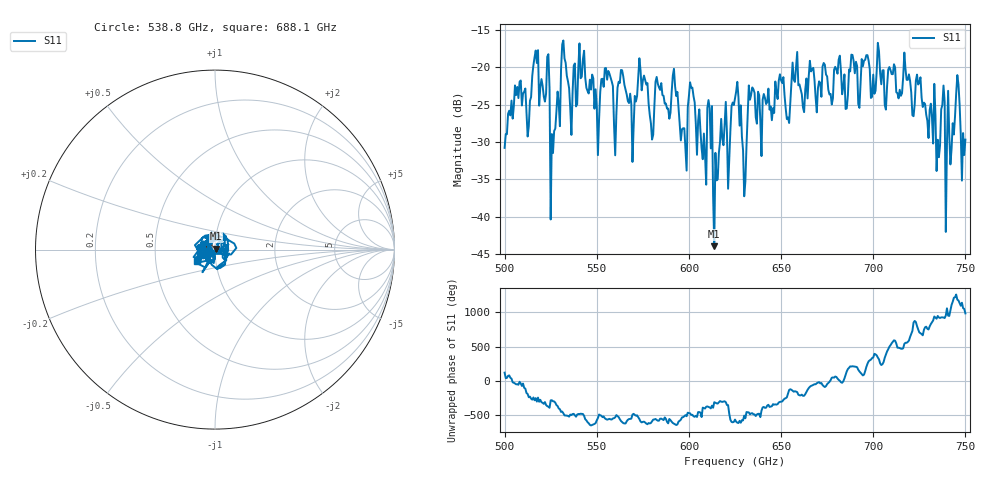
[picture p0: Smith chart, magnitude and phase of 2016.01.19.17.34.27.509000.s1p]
!Created with skrf (http://scikit-rf.org).
# GHz S RI R 50.0
!freq ReS11 ImS11
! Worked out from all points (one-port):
!   401 points, 500 GHz to 750 GHz, reference 50 ohm
!   lowest |S11| = -43.9 dB at 613.8 GHz (marker M1), VSWR 1.01, Z = 50.4 + j0.512 ohm
!   |S11| at or under -10 dB: start of sweep to end of sweep
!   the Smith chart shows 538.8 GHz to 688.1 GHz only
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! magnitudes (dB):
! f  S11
! 500 GHz  -30.8
! 506.9 GHz  -22.6
! 513.1 GHz  -27.9
! 516.9 GHz  -17.8
! 523.1 GHz  -18.6
! 526.2 GHz  -31.5
! 531.2 GHz  -17.0
! 550 GHz  -25.3
! 562.5 GHz  -22.1
! 568.8 GHz  -24.9
! 573.8 GHz  -20.4
! 579.4 GHz  -27.5
! 583.1 GHz  -22.2
! 593.8 GHz  -23.3
! 597.5 GHz  -28.2
! 601.9 GHz  -22.7
! 608.1 GHz  -28.9
! 611.2 GHz  -25.5
! 613.8 GHz  -43.9
! 625 GHz  -24.2
! 630 GHz  -37.2
! 633.8 GHz  -23.7
! 656.2 GHz  -19.4
! 687.5 GHz  -20.6
! 718.8 GHz  -21.7
! 740.6 GHz  -23.2
! 745.6 GHz  -21.1
! 750 GHz  -29.7
